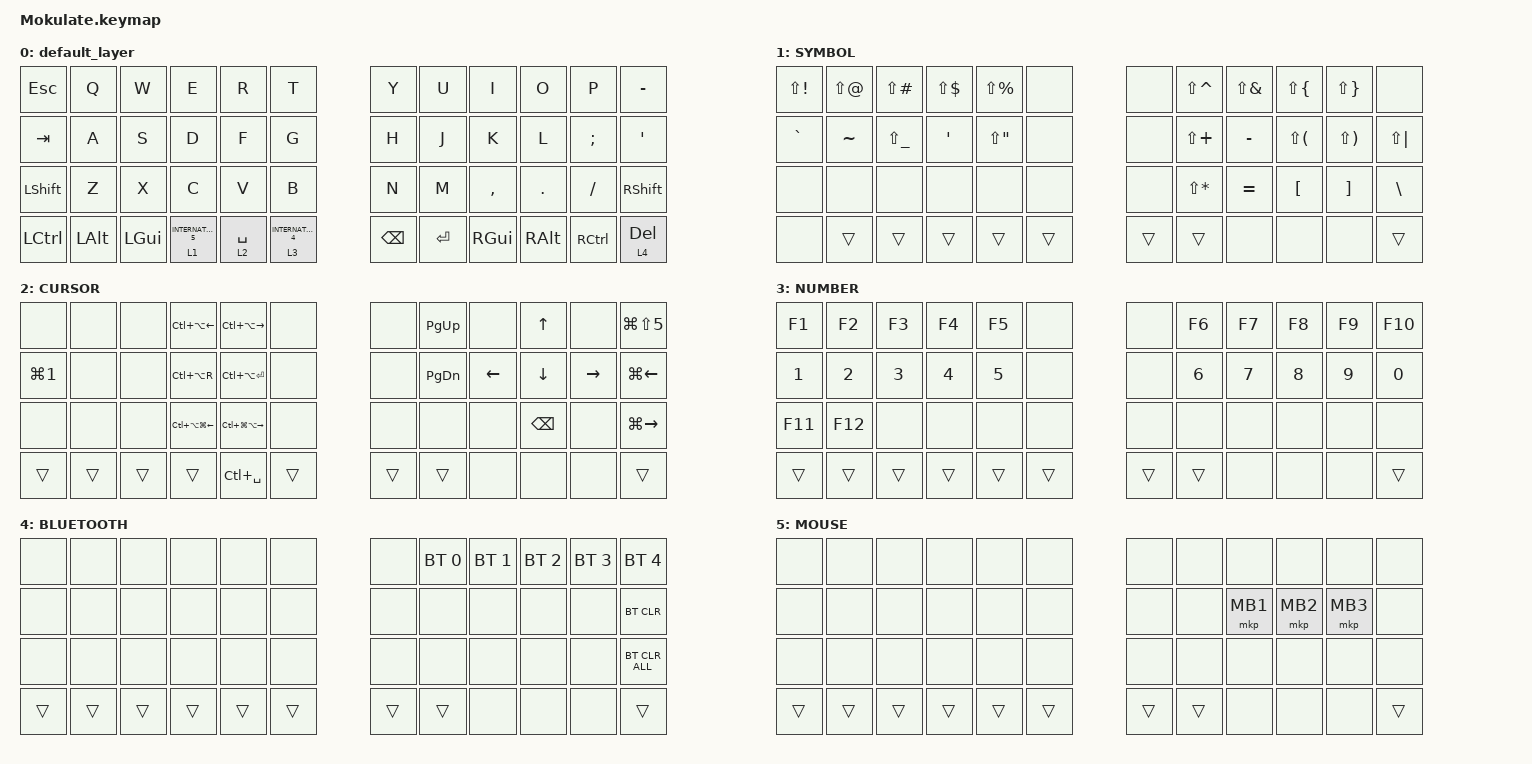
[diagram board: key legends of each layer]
#include <behaviors.dtsi>
#include <dt-bindings/zmk/bt.h>
#include <dt-bindings/zmk/keys.h>

/ {
    keymap {
        compatible = "zmk,keymap";

        default_layer {
            bindings = <
&kp ESC    &kp Q     &kp W     &kp E                  &kp R        &kp T                    &kp Y     &kp U      &kp I      &kp O     &kp P      &kp MINUS
&kp TAB    &kp A     &kp S     &kp D                  &kp F        &kp G                    &kp H     &kp J      &kp K      &kp L     &kp SEMI   &kp APOS
&kp LSHFT  &kp Z     &kp X     &kp C                  &kp V        &kp B                    &kp N     &kp M      &kp COMMA  &kp DOT   &kp FSLH   &kp RSHFT
&kp LCTRL  &kp LALT  &kp LGUI  &lt 1 INTERNATIONAL_5  &lt 2 SPACE  &lt 3 INTERNATIONAL_4    &kp BSPC  &kp ENTER  &kp RGUI   &kp RALT  &kp RCTRL  &lt 4 DEL
            >;
        };

        SYMBOL {
            bindings = <
&kp LS(EXCL)  &kp LS(AT)  &kp LS(POUND)  &kp LS(DLLR)  &kp LS(PRCNT)  &none     &none   &kp LS(CARET)  &kp LS(AMPS)  &kp LS(LBRC)  &kp LS(RBRC)  &none
&kp GRAVE     &kp TILDE   &kp LS(UNDER)  &kp SQT       &kp LS(DQT)    &none     &none   &kp LS(PLUS)   &kp MINUS     &kp LS(LPAR)  &kp LS(RPAR)  &kp LS(PIPE)
&none         &none       &none          &none         &none          &none     &none   &kp LS(STAR)   &kp EQUAL     &kp LBKT      &kp RBKT      &kp BSLH
&none         &trans      &trans         &trans        &trans         &trans    &trans  &trans         &none         &none         &none         &trans
            >;
        };

        CURSOR {
            bindings = <
&none             &none   &none   &kp LC(LA(LEFT))      &kp LC(LA(RIGHT))      &none     &none   &kp PG_UP  &none     &kp UP    &none      &kp LG(LS(N5))
&kp LG(NUMBER_1)  &none   &none   &kp LC(LA(R))         &kp LC(LA(RET))        &none     &none   &kp PG_DN  &kp LEFT  &kp DOWN  &kp RIGHT  &kp LG(LEFT)
&none             &none   &none   &kp LC(LA(LG(LEFT)))  &kp LC(LG(LA(RIGHT)))  &none     &none   &none      &none     &kp BSPC  &none      &kp LG(RIGHT)
&trans            &trans  &trans  &trans                &kp LC(SPACE)          &trans    &trans  &trans     &none     &none     &none      &trans
            >;
        };

        NUMBER {
            bindings = <
&kp F1   &kp F2   &kp F3  &kp F4  &kp F5  &none     &none   &kp F6  &kp F7  &kp F8  &kp F9  &kp F10
&kp N1   &kp N2   &kp N3  &kp N4  &kp N5  &none     &none   &kp N6  &kp N7  &kp N8  &kp N9  &kp N0
&kp F11  &kp F12  &none   &none   &none   &none     &none   &none   &none   &none   &none   &none
&trans   &trans   &trans  &trans  &trans  &trans    &trans  &trans  &none   &none   &none   &trans
            >;
        };

        BLUETOOTH {
            bindings = <
&none   &none   &none   &none   &none   &none     &none   &bt BT_SEL 0  &bt BT_SEL 1  &bt BT_SEL 2  &bt BT_SEL 3  &bt BT_SEL 4
&none   &none   &none   &none   &none   &none     &none   &none         &none         &none         &none         &bt BT_CLR
&none   &none   &none   &none   &none   &none     &none   &none         &none         &none         &none         &bt BT_CLR_ALL
&trans  &trans  &trans  &trans  &trans  &trans    &trans  &trans        &none         &none         &none         &trans
            >;
        };

        MOUSE {
            bindings = <
&none   &none   &none   &none   &none   &none     &none   &none         &none        &none         &none         &none
&none   &none   &none   &none   &none   &none     &none   &none         &mkp MB1      &mkp MB2      &mkp MB3         &none
&none   &none   &none   &none   &none   &none     &none   &none         &none         &none         &none         &none
&trans  &trans  &trans  &trans  &trans  &trans    &trans  &trans        &none         &none         &none         &trans
            >;
        };
    };
};
